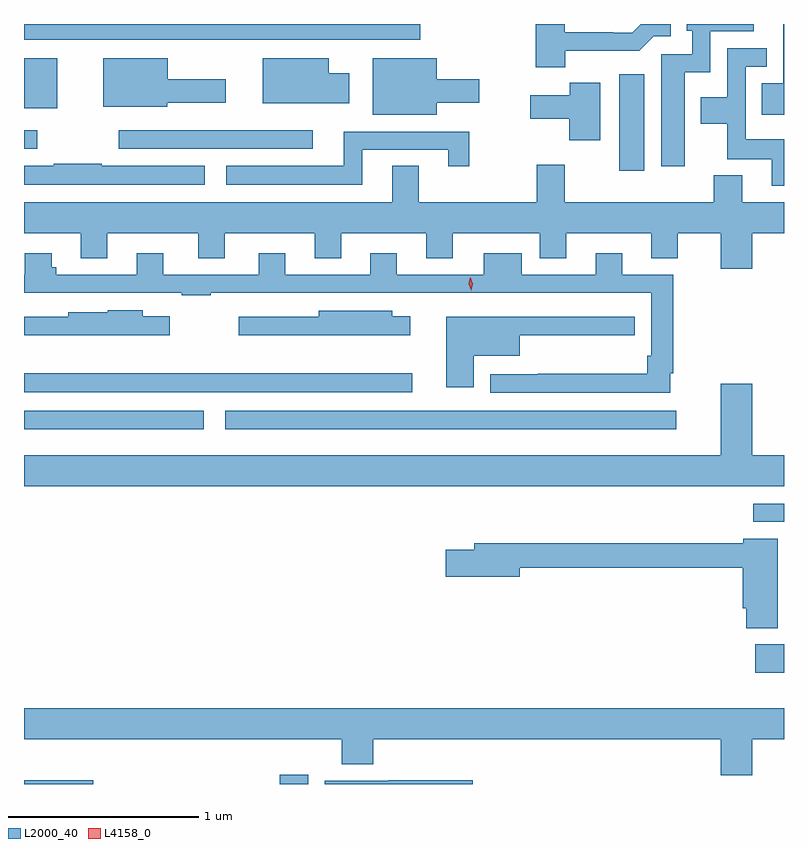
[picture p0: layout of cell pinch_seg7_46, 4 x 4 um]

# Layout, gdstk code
import gdstk
lib = gdstk.Library(unit=1e-6, precision=1e-09)
def R(c, l, rs):  # rectangles x0, y0, x1, y1
    for r in rs: c.add(gdstk.rectangle(r[:2], r[2:], *l))
def P(c, l, *ps):  # polygons
    for p in ps: c.add(gdstk.Polygon(p, *l))
L2000_40 = (2000, 40)
L4158_0 = (4158, 0)

pinch_seg7_46 = lib.new_cell('pinch_seg7_46')
R(pinch_seg7_46, L2000_40, [(880.62,1050.997,880.984,1051.016), (881.966,1050.997,882.115,1051.045), (884.469,1051.583,884.62,1051.732), (884.457,1052.376,884.62,1052.472), (880.62,1052.864,881.566,1052.961), (881.679,1052.864,884.053,1052.961), (880.62,1053.06,882.664,1053.158), (883.754,1054.224,883.885,1054.732), (880.62,1054.341,880.69,1054.437), (880.62,1054.553,880.795,1054.816), (882.833,1054.995,882.986,1054.997)])
P(pinch_seg7_46, L2000_40, [(881.78,1054.914),(882.706,1054.914),(882.706,1054.997),(880.62,1054.997),(880.62,1054.914),(881.473,1054.914),(881.473,1054.913),(881.78,1054.913)],
  [(884.62,1054.997),(884.615,1054.997),(884.615,1054.684),(884.503,1054.684),(884.503,1054.52),(884.62,1054.52)],
  [(883.468,1054.856),(883.859,1054.856),(883.935,1054.932),(884.023,1054.932),(884.023,1054.997),(883.867,1054.997),(883.82,1054.95),(883.721,1054.95),(883.721,1054.953),(883.465,1054.953),(883.465,1054.997),(883.313,1054.997),(883.313,1054.769),(883.468,1054.769)],
  [(884.098,1054.742),(884.232,1054.742),(884.232,1054.958),(884.461,1054.958),(884.461,1054.997),(884.108,1054.997),(884.108,1054.962),(884.136,1054.962),(884.136,1054.839),(883.973,1054.839),(883.973,1054.248),(884.098,1054.248)],
  [(884.62,1054.39),(884.418,1054.39),(884.418,1054.773),(884.53,1054.773),(884.53,1054.869),(884.322,1054.869),(884.322,1054.612),(884.183,1054.612),(884.183,1054.472),(884.32,1054.472),(884.32,1054.286),(884.555,1054.286),(884.555,1054.146),(884.62,1054.146)],
  [(881.373,1054.583),(881.683,1054.583),(881.683,1054.705),(881.377,1054.705),(881.377,1054.816),(881.036,1054.816),(881.036,1054.562),(881.373,1054.562)],
  [(882.331,1054.738),(882.223,1054.738),(882.223,1054.816),(881.876,1054.816),(881.876,1054.58),(882.331,1054.58)],
  [(882.793,1054.583),(883.015,1054.583),(883.015,1054.705),(882.793,1054.705),(882.793,1054.816),(882.455,1054.816),(882.455,1054.52),(882.793,1054.52)],
  [(883.654,1054.687),(883.492,1054.687),(883.492,1054.621),(883.284,1054.621),(883.284,1054.499),(883.49,1054.499),(883.49,1054.386),(883.654,1054.386)],
  [(882.139,1054.438),(881.473,1054.438),(881.473,1054.437),(881.118,1054.437),(881.118,1054.341),(882.139,1054.341)],
  [(882.4,1054.335),(882.854,1054.335),(882.854,1054.248),(882.964,1054.248),(882.964,1054.431),(882.302,1054.431),(882.302,1054.252),(881.685,1054.252),(881.685,1054.151),(882.4,1054.151)],
  [(881.572,1054.252),(881.03,1054.252),(881.03,1054.262),(880.777,1054.262),(880.777,1054.252),(880.62,1054.252),(880.62,1054.151),(881.572,1054.151)],
  [(880.62,1053.896),(880.919,1053.896),(880.919,1053.763),(881.059,1053.763),(881.059,1053.896),(881.537,1053.896),(881.537,1053.763),(881.677,1053.763),(881.677,1053.896),(882.149,1053.896),(882.149,1053.763),(882.289,1053.763),(882.289,1053.896),(882.737,1053.896),(882.737,1053.763),(882.877,1053.763),(882.877,1053.896),(883.334,1053.896),(883.334,1053.763),(883.474,1053.763),(883.474,1053.896),(883.922,1053.896),(883.922,1053.763),(884.062,1053.763),(884.062,1053.896),(884.288,1053.896),(884.288,1053.708),(884.452,1053.708),(884.452,1053.896),(884.62,1053.896),(884.62,1054.06),(884.401,1054.06),(884.401,1054.201),(884.249,1054.201),(884.249,1054.06),(883.465,1054.06),(883.465,1054.255),(883.318,1054.255),(883.318,1054.06),(882.697,1054.06),(882.697,1054.25),(882.557,1054.25),(882.557,1054.06),(880.62,1054.06)],
  [(884.021,1053.16),(884.036,1053.16),(884.036,1053.678),(883.768,1053.678),(883.768,1053.79),(883.628,1053.79),(883.628,1053.678),(883.24,1053.678),(883.24,1053.79),(883.04,1053.79),(883.04,1053.678),(882.583,1053.678),(882.583,1053.79),(882.443,1053.79),(882.443,1053.678),(881.995,1053.678),(881.995,1053.79),(881.855,1053.79),(881.855,1053.678),(881.353,1053.678),(881.353,1053.79),(881.213,1053.79),(881.213,1053.678),(880.791,1053.678),(880.791,1053.717),(880.765,1053.717),(880.765,1053.79),(880.625,1053.79),(880.625,1053.678),(880.62,1053.678),(880.62,1053.582),(881.449,1053.582),(881.449,1053.57),(881.604,1053.57),(881.604,1053.582),(883.92,1053.582),(883.92,1053.25),(883.9,1053.25),(883.9,1053.155),(883.324,1053.155),(883.324,1053.153),(883.073,1053.153),(883.073,1053.057),(884.021,1053.057)],
  [(881.386,1053.46),(881.245,1053.46),(881.245,1053.49),(881.061,1053.49),(881.061,1053.481),(880.854,1053.481),(880.854,1053.456),(880.62,1053.456),(880.62,1053.359),(881.386,1053.359)],
  [(882.652,1053.46),(882.558,1053.46),(882.558,1053.487),(882.17,1053.487),(882.17,1053.456),(881.751,1053.456),(881.751,1053.359),(882.652,1053.359)],
  [(882.988,1053.251),(883.228,1053.251),(883.228,1053.359),(883.835,1053.359),(883.835,1053.455),(883.724,1053.455),(883.724,1053.456),(883.124,1053.456),(883.124,1053.457),(882.842,1053.457),(882.842,1053.084),(882.988,1053.084)],
  [(884.62,1052.728),(884.452,1052.728),(884.452,1053.103),(884.288,1053.103),(884.288,1052.728),(880.62,1052.728),(880.62,1052.564),(884.62,1052.564)],
  [(884.587,1052.287),(884.406,1052.287),(884.406,1052.263),(882.989,1052.263),(882.989,1052.229),(882.84,1052.229),(882.84,1052.087),(883.228,1052.087),(883.228,1052.134),(884.402,1052.134),(884.402,1051.923),(884.42,1051.923),(884.42,1051.817),(884.587,1051.817)],
  [(884.452,1051.232),(884.62,1051.232),(884.62,1051.396),(880.62,1051.396),(880.62,1051.232),(882.293,1051.232),(882.293,1051.101),(882.458,1051.101),(882.458,1051.232),(884.288,1051.232),(884.288,1051.044),(884.452,1051.044)],
  [(882.982,1051.016),(882.541,1051.016),(882.541,1051.014),(882.204,1051.014),(882.204,1050.997),(882.982,1050.997)])
P(pinch_seg7_46, L4158_0, [(882.974,1053.594),(882.973,1053.595),(882.961,1053.629),(882.969,1053.665),(882.969,1053.665),(882.969,1053.665),(882.981,1053.631),(882.974,1053.595)])

lib.write_gds('pinch_seg7_46.gds')
